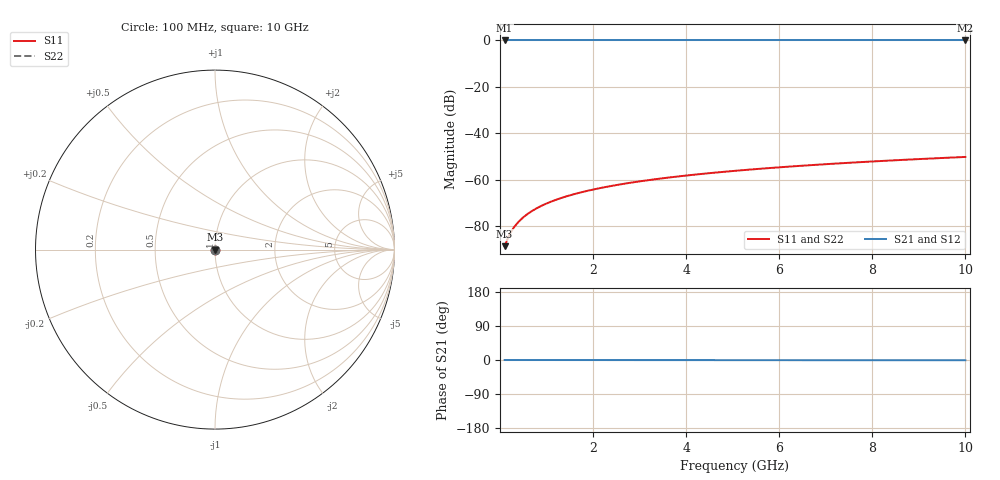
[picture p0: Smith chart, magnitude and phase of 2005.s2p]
# Hz S RI R 50.00
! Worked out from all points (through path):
!   100 points, 100 MHz to 10 GHz, reference 50 ohm
!   highest |S21| = 0.00 dB at 100 MHz (marker M1); lowest = 0.0 dB at 10 GHz (marker M2)
!   lowest |S11| = -88.7 dB at 100 MHz (marker M3), VSWR 1.00, Z = 50 - j0.00304 ohm
!   |S11| at or under -10 dB: start of sweep to end of sweep
!   |S22| runs from -88.7 to -50.2 dB; largest |S21 - S12| = 0
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1e8  2.05e-05 -3.03e-05  1 -0.000116  1 -0.000116  2.05e-05 -3.03e-05
3e8  2.06e-05 -9.11e-05  1 -0.000347  1 -0.000347  2.06e-05 -9.11e-05
5e8  2.05e-05 -0.000152  1 -0.000579  1 -0.000579  2.05e-05 -0.000152
6e8  2.05e-05 -0.000182  1 -0.000695  1 -0.000695  2.05e-05 -0.000182
7e8  2.04e-05 -0.000213  1 -0.00081  1 -0.00081  2.04e-05 -0.000213
8e8  2.04e-05 -0.000243  1 -0.000926  1 -0.000926  2.04e-05 -0.000243
1e9  2.02e-05 -0.000304  1 -0.00116  1 -0.00116  2.02e-05 -0.000304
1.2e9  2e-05 -0.000365  1 -0.00139  1 -0.00139  2e-05 -0.000365
1.4e9  1.98e-05 -0.000425  1 -0.00162  1 -0.00162  1.98e-05 -0.000425
1.6e9  1.95e-05 -0.000486  1 -0.00185  1 -0.00185  1.95e-05 -0.000486
1.8e9  1.92e-05 -0.000547  1 -0.00209  1 -0.00209  1.92e-05 -0.000547
2.1e9  1.87e-05 -0.000639  1 -0.00243  1 -0.00243  1.87e-05 -0.000639
2.5e9  1.79e-05 -0.000761  1 -0.0029  1 -0.0029  1.79e-05 -0.000761
2.9e9  1.69e-05 -0.000883  1 -0.00336  1 -0.00336  1.69e-05 -0.000883
3.4e9  1.56e-05 -0.00104  1 -0.00394  1 -0.00394  1.56e-05 -0.00104
4.2e9  1.31e-05 -0.00128  1 -0.00488  1 -0.00488  1.31e-05 -0.00128
5.1e9  9.75e-06 -0.00156  1 -0.00593  1 -0.00593  9.75e-06 -0.00156
5.9e9  6.25e-06 -0.00181  0.9999 -0.00686  0.9999 -0.00686  6.25e-06 -0.00181
6.7e9  2.28e-06 -0.00205  0.9999 -0.0078  0.9999 -0.0078  2.28e-06 -0.00205
7.5e9  -2.15e-06 -0.0023  0.9999 -0.00874  0.9999 -0.00874  -2.15e-06 -0.0023
8.4e9  -7.71e-06 -0.00258  0.9999 -0.0098  0.9999 -0.0098  -7.71e-06 -0.00258
1e10  -1.91e-05 -0.00307  0.9999 -0.0117  0.9999 -0.0117  -1.91e-05 -0.00307
